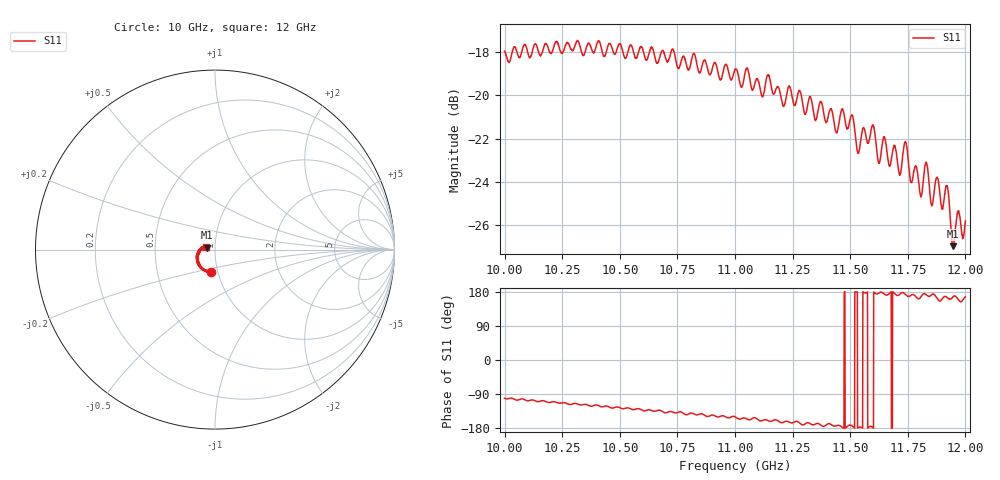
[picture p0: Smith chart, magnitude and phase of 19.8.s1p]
[Version] 2.0
! Rohde & Schwarz Vector Network Analyzer
! Rohde-Schwarz,ZNL20-2Port,1323001220200009,1.71.1.10-23.02.1.238
! Port Assignments:
! Nominal Port -> Actual Test Port
!  1 -> 1
! Created: GMT 2024-09-04 10:39:17
# Hz S DB R 50
[Number of Ports] 1
! freq[Hz]  S11[mag dB]  S11[ang]
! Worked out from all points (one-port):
!   2001 points, 10 GHz to 12 GHz, reference 50 ohm
!   lowest |S11| = -27.0 dB at 11.95 GHz (marker M1), VSWR 1.09, Z = 45.8 + j0.978 ohm
!   |S11| at or under -10 dB: start of sweep to end of sweep
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[Number of Frequencies] 28
[Network Data]
1e10  -17.96 -101.1
1.025e10  -18.05 -113.0
1.05e10  -17.62 -125.8
1.075e10  -18.71 -139.0
1.1e10  -18.80 -149.8
1.125e10  -20.18 -165.9
1.1327e10  -20.07 -168.3
1.135e10  -21.12 -168.7
1.1373e10  -20.29 -172.1
1.144e10  -21.73 -173.3
1.1464e10  -20.65 -176.9
1.15e10  -21.10 -171.4
1.1534e10  -22.68 -179.1
1.1598e10  -21.39 -178.1
1.1625e10  -23.15 176.5
1.1647e10  -21.94 174.7
1.1714e10  -23.68 172.7
1.1737e10  -22.18 174.5
1.175e10  -22.77 168.1
1.1806e10  -24.69 166.1
1.183e10  -23.11 172.3
1.1854e10  -25.05 172.6
1.1876e10  -23.80 163.8
1.1899e10  -25.25 160.6
1.192e10  -24.21 165.4
1.1945e10  -26.97 166.2
1.1968e10  -25.38 160.3
1.2e10  -25.81 166.3
[End]
